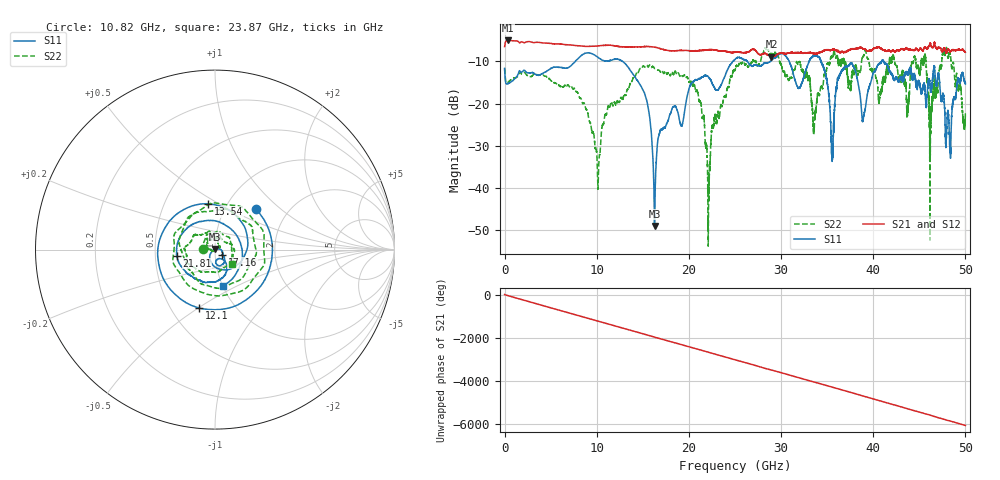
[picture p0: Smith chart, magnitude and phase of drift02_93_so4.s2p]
!Created with skrf (http://scikit-rf.org).
# Hz S RI R 50.0
!freq ReS11 ImS11 ReS21 ImS21 ReS12 ImS12 ReS22 ImS22
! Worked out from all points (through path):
!   10001 points, 300 kHz to 50 GHz, reference 50 ohm
!   highest |S21| = -5.04 dB at 325.3 MHz (marker M1); lowest = -8.9 dB at 28.96 GHz (marker M2)
!   group delay of S21, straight-line fit = 336 ps
!   lowest |S11| = -49.0 dB at 16.27 GHz (marker M3), VSWR 1.01, Z = 49.8 + j0.304 ohm
!   |S11| at or under -10 dB: start of sweep to 7.668 GHz; 12.82 GHz to 24.78 GHz (11.96 GHz wide, 63.6 % of centre); 41.14 GHz to end of sweep (the widest 3 of 12)
!   |S22| runs from -53.8 to -6.7 dB; largest |S21 - S12| = 0.029
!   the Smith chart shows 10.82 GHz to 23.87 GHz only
!   S11 on the Smith chart (normalised r, x): 10.82 GHz: 1.39, +0.70; 12.1 GHz: 0.69, -0.50; 13.54 GHz: 0.82, +0.45; 17.16 GHz: 1.08, -0.06; 21.81 GHz: 0.65, -0.04; 23.87 GHz: 1.01, -0.42
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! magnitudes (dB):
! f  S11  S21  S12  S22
! 300 kHz  -11.7  -6.5  -6.5  -11.6
! 325.3 MHz  -15.3  -5.0  -5.0  -15.1
! 8.335 GHz  -8.6  -6.4  -6.4  -19.1
! 10.11 GHz  -9.0  -6.3  -6.3  -39.0
! 10.82 GHz  -9.9  -6.2  -6.2  -23.7
! 12.1 GHz  -9.5  -6.4  -6.4  -20.4
! 13.54 GHz  -11.8  -6.6  -6.6  -15.9
! 16.27 GHz  -49.0  -6.6  -6.6  -11.6
! 16.67 GHz  -28.0  -6.8  -6.8  -12.1
! 17.16 GHz  -26.0  -7.1  -7.1  -12.4
! 21.81 GHz  -13.3  -7.3  -7.3  -30.2
! 23.87 GHz  -13.7  -7.6  -7.5  -18.2
! 25 GHz  -9.6  -7.8  -7.8  -12.0
! 28.96 GHz  -9.8  -8.9  -8.9  -7.9
! 33.34 GHz  -9.0  -8.0  -8.0  -19.8
! 35.55 GHz  -31.8  -7.2  -7.2  -9.2
! 36.78 GHz  -11.9  -7.9  -7.9  -9.7
! 41.67 GHz  -11.8  -7.4  -7.5  -12.1
! 45.49 GHz  -15.5  -7.1  -7.0  -9.8
! 46.26 GHz  -16.9  -6.2  -6.2  -23.9
! 48.1 GHz  -21.6  -7.1  -7.1  -9.1
! 50 GHz  -15.3  -7.9  -7.9  -22.9
